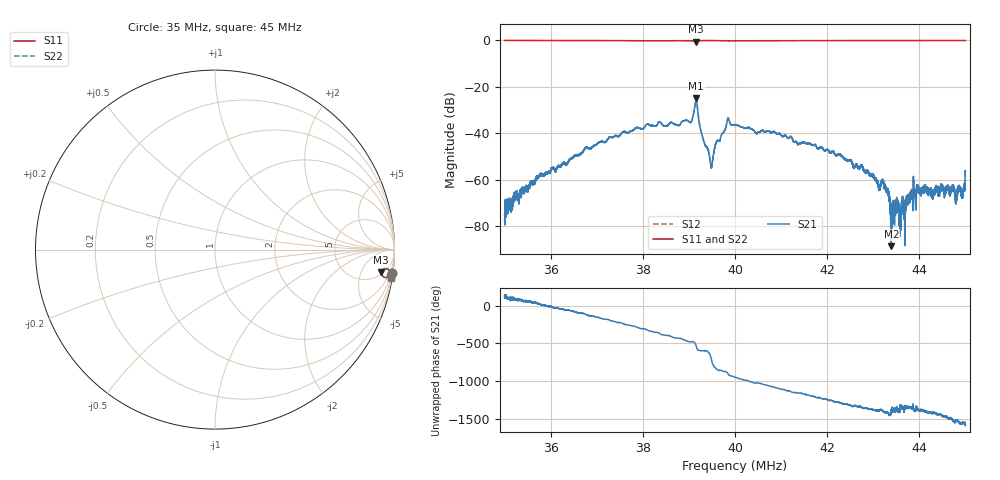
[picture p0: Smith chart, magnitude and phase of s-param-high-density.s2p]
!  23/08/2022  4:56:08 PM
! Ref Plane: 0.000 mm
# MHZ S MA R  50
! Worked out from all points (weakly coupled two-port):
!   8001 points, 35 MHz to 45 MHz, reference 50 ohm
!   highest |S21| = -24.91 dB at 39.16 MHz (marker M1); lowest = -88.6 dB at 43.39 MHz (marker M2)
!   lowest |S11| = -0.6 dB at 39.16 MHz (marker M3), VSWR 29.68, Z = 291 - j588 ohm
!   |S11| at or under -10 dB: nowhere
!   |S22| runs from -0.6 to 0.0 dB; largest |S21 - S12| = 0.00057
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35  0.9942 -7.4  0.0001327 144.5  0.0001781 140.0  0.9959 -7.6
35.2338  0.9947 -7.5  0.0004213 78.3  0.0004286 103.0  0.9957 -7.7
35.7413  0.9937 -7.7  0.001164 28.1  0.001175 29.7  0.995 -7.9
36.6675  0.9899 -8.0  0.00375 -97.8  0.003791 -98.1  0.991 -8.2
38.3338  0.9757 -8.1  0.01706 2.3  0.01709 3.0  0.9769 -8.4
39.0238  0.9787 -8.2  0.01702 -118.3  0.01703 -118.0  0.9799 -8.4
39.1575  0.9355 -8.2  0.05683 -174.5  0.05676 -174.0  0.9379 -8.3
39.16  0.9348 -7.8  0.05638 179.7  0.05649 -179.9  0.9372 -8.0
39.29  0.987 -7.3  0.008737 122.5  0.008715 123.0  0.9881 -7.5
39.4813  0.9895 -8.0  0.001853 25.8  0.001923 26.8  0.9897 -8.1
39.835  0.9741 -8.6  0.0196 -168.6  0.01951 -167.9  0.9756 -8.7
40  0.9791 -8.0  0.01496 131.5  0.01499 131.9  0.9803 -8.2
41.6675  0.9849 -8.0  0.0056 -119.9  0.00558 -119.5  0.9869 -8.2
42.7575  0.9897 -8.2  0.001966 84.1  0.00194 89.2  0.9908 -8.4
43.225  0.9908 -8.3  0.0008355 27.8  0.0008902 33.1  0.9918 -8.5
43.3338  0.9909 -8.4  0.0004815 3.2  0.0005009 9.8  0.9924 -8.6
43.3925  0.9908 -8.4  3.708e-05 57.8  0.0001228 48.4  0.9921 -8.6
43.5875  0.9913 -8.5  8.952e-05 71.0  0.0001624 96.1  0.9927 -8.7
43.9863  0.9913 -8.6  0.0005273 48.1  0.000671 56.0  0.9927 -8.8
44.8125  0.9916 -8.9  0.0004634 -88.4  0.0004418 -79.0  0.9933 -9.1
44.9413  0.9921 -9.0  0.0005664 -117.6  0.000525 -113.3  0.9935 -9.2
45  0.9899 -8.9  0.001515 -149.2  0.001541 -150.6  0.9906 -9.1
